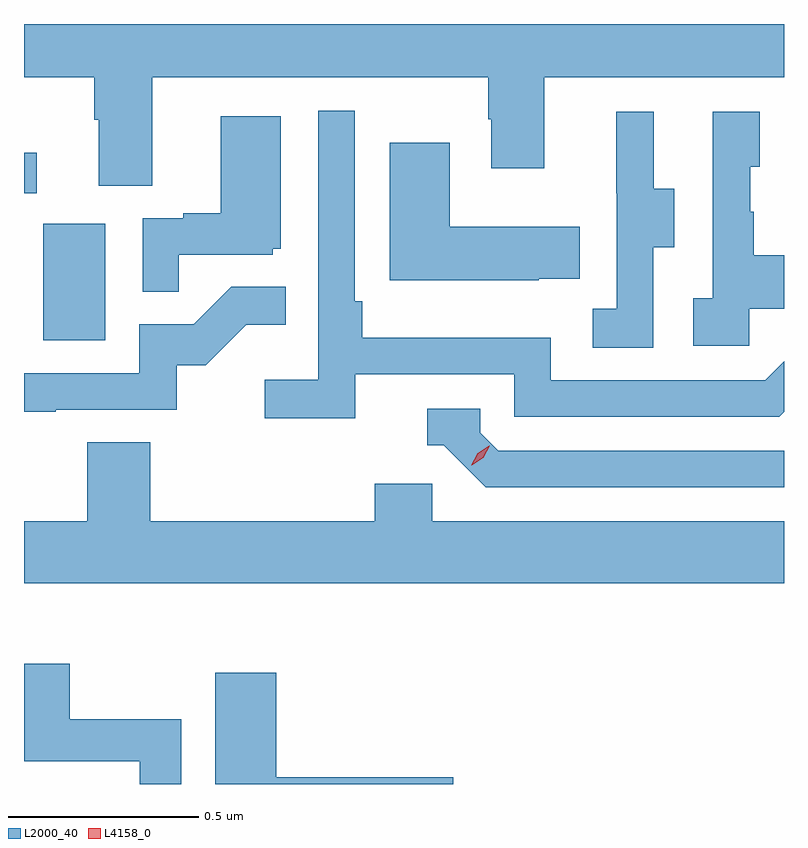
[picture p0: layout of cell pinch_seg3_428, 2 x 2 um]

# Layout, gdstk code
import gdstk
lib = gdstk.Library(unit=1e-6, precision=1e-09)
def R(c, l, rs):  # rectangles x0, y0, x1, y1
    for r in rs: c.add(gdstk.rectangle(r[:2], r[2:], *l))
def P(c, l, *ps):  # polygons
    for p in ps: c.add(gdstk.Polygon(p, *l))
L2000_40 = (2000, 40)
L4158_0 = (4158, 0)

pinch_seg3_428 = lib.new_cell('pinch_seg3_428')
R(pinch_seg3_428, L2000_40, [(935.66,693.564,935.824,693.871), (935.61,693.951,935.644,694.057)])
P(pinch_seg3_428, L2000_40, [(935.947,694.256),(936.832,694.256),(936.832,694.145),(936.839,694.145),(936.839,694.017),(936.979,694.017),(936.979,694.256),(937.61,694.256),(937.61,694.396),(935.61,694.396),(935.61,694.256),(935.795,694.256),(935.795,694.144),(935.807,694.144),(935.807,693.97),(935.947,693.97)],
  [(936.482,693.474),(936.9,693.474),(936.9,693.363),(937.597,693.363),(937.61,693.376),(937.61,693.509),(937.56,693.459),(936.996,693.459),(936.996,693.571),(936.5,693.571),(936.5,693.667),(936.48,693.667),(936.48,694.168),(936.384,694.168),(936.384,693.46),(936.243,693.46),(936.243,693.358),(936.482,693.358)],
  [(937.518,693.647),(937.61,693.647),(937.61,693.787),(937.531,693.787),(937.531,693.902),(937.521,693.902),(937.521,694.02),(937.546,694.02),(937.546,694.165),(937.422,694.165),(937.422,693.674),(937.371,693.674),(937.371,693.549),(937.518,693.549)],
  [(937.266,693.808),(937.321,693.808),(937.321,693.963),(937.267,693.963),(937.267,694.165),(937.169,694.165),(937.169,693.951),(937.17,693.951),(937.17,693.647),(937.107,693.647),(937.107,693.544),(937.266,693.544)],
  [(936.017,693.789),(936.264,693.789),(936.264,693.804),(936.286,693.804),(936.286,694.153),(936.128,694.153),(936.128,693.898),(936.029,693.898),(936.029,693.885),(935.922,693.885),(935.922,693.691),(936.017,693.691)],
  [(936.965,693.725),(937.073,693.725),(937.073,693.862),(936.73,693.862),(936.73,694.084),(936.572,694.084),(936.572,693.722),(936.965,693.722)],
  [(935.693,693.381),(936.012,693.381),(936.012,693.498),(936.088,693.498),(936.195,693.605),(936.299,693.605),(936.299,693.704),(936.155,693.704),(936.057,693.606),(935.913,693.606),(935.913,693.477),(935.61,693.477),(935.61,693.376),(935.693,693.376)],
  [(937.61,693.273),(936.858,693.273),(936.81,693.321),(936.81,693.384),(936.671,693.384),(936.671,693.288),(936.714,693.288),(936.825,693.177),(937.61,693.177)],
  [(937.61,693.088),(936.684,693.088),(936.684,693.186),(936.533,693.186),(936.533,693.088),(935.942,693.088),(935.942,693.296),(935.777,693.296),(935.777,693.088),(935.61,693.088),(935.61,692.924),(937.61,692.924)],
  [(936.024,692.566),(935.731,692.566),(935.731,692.712),(935.61,692.712),(935.61,692.456),(935.915,692.456),(935.915,692.396),(936.024,692.396)],
  [(936.739,692.414),(936.274,692.414),(936.274,692.689),(936.113,692.689),(936.113,692.396),(936.739,692.396)])
P(pinch_seg3_428, L4158_0, [(936.787,693.235),(936.787,693.235),(936.804,693.267),(936.834,693.286),(936.835,693.286),(936.835,693.286),(936.818,693.254),(936.788,693.235)])

lib.write_gds('pinch_seg3_428.gds')
